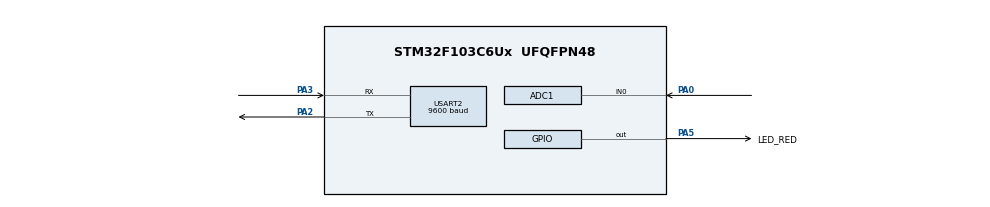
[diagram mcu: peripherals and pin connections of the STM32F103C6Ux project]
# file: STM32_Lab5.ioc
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ADC1.Channel-0\#ChannelRegularConversion=ADC_CHANNEL_0
ADC1.ContinuousConvMode=ENABLE
ADC1.NbrOfConversionFlag=1
ADC1.Rank-0\#ChannelRegularConversion=1
ADC1.SamplingTime-0\#ChannelRegularConversion=ADC_SAMPLETIME_1CYCLE_5
ADC1.master=1
Mcu.Family=STM32F1
Mcu.Name=STM32F103C6Ux
Mcu.Package=UFQFPN48
NVIC.PriorityGroup=NVIC_PRIORITYGROUP_4
NVIC.TIM2_IRQn=true\:0\:0\:false\:false\:true\:true\:true
NVIC.USART2_IRQn=true\:0\:0\:false\:false\:true\:true\:true
PA0-WKUP.Signal=ADCx_IN0
PA2.Mode=Asynchronous
PA2.Signal=USART2_TX
PA3.Mode=Asynchronous
PA3.Signal=USART2_RX
PA5.GPIO_Label=LED_RED
PA5.Signal=GPIO_Output
ProjectManager.HeapSize=0x200
ProjectManager.StackSize=0x400
ProjectManager.TargetToolchain=STM32CubeIDE
RCC.APB1Freq_Value=8000000
RCC.APB2Freq_Value=8000000
SH.ADCx_IN0.0=ADC1_IN0,IN0
TIM2.Period=9
TIM2.Prescaler=7999
USART2.BaudRate=9600
USART2.VirtualMode=VM_ASYNC
VP_SYS_VS_ND.Mode=No_Debug
VP_TIM2_VS_ClockSourceINT.Mode=Internal
board=custom

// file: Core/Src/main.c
/* USER CODE BEGIN Header */
/**
  ******************************************************************************
  * @file           : main.c
  * @brief          : Main program body
  ******************************************************************************
  * @attention
  *
  * <h2><center>&copy; Copyright (c) 2022 STMicroelectronics.
  * All rights reserved.</center></h2>
  *
  * This software component is licensed by ST under BSD 3-Clause license,
  * the "License"; You may not use this file except in compliance with the
  * License. You may obtain a copy of the License at:
  *                        opensource.org/licenses/BSD-3-Clause
  *
  ******************************************************************************
  */
/* USER CODE END Header */
#include "main.h"

/* USER CODE BEGIN Includes */
#include "global.h"
/* USER CODE END Includes */

ADC_HandleTypeDef hadc1;

TIM_HandleTypeDef htim2;

UART_HandleTypeDef huart2;

void SystemClock_Config(void);
static void MX_GPIO_Init(void);
static void MX_ADC1_Init(void);
static void MX_USART2_UART_Init(void);
static void MX_TIM2_Init(void);

/* USER CODE BEGIN 0 */
void HAL_UART_RxCpltCallback(UART_HandleTypeDef *huart) {
	if (huart->Instance == USART2) {
		HAL_UART_Transmit(&huart2, &temp, 1, 50);
		buffer[buffer_index++] = temp;
		buffer_index %= MAX_BUFFER_SIZE;
		buffer_flag = 1;
		HAL_UART_Receive_IT(&huart2, &temp, 1);
	}
}
/* USER CODE END 0 */

int main(void)
{

  /* MCU Configuration--------------------------------------------------------*/

  /* Reset of all peripherals, Initializes the Flash interface and the Systick. */
  HAL_Init();

  /* Configure the system clock */
  SystemClock_Config();

  /* Initialize all configured peripherals */
  MX_GPIO_Init();
  MX_ADC1_Init();
  MX_USART2_UART_Init();
  MX_TIM2_Init();
  /* USER CODE BEGIN 2 */
  HAL_TIM_Base_Start_IT(&htim2);
  HAL_UART_Receive_IT(&huart2, &temp, 1);
//  HAL_ADC_Start(&hadc1);
  /* USER CODE END 2 */

  /* Infinite loop */
  /* USER CODE BEGIN WHILE */
  setTimer(0, 1000);
  setTimer(1, 3000);

  while (1)
  {
	  if (isTimerUp(0)) {
		  HAL_GPIO_TogglePin(LED_RED_GPIO_Port, LED_RED_Pin);
		  setTimer(0, 1000);
	  }

	  if (buffer_flag) {
		  command_parser_fsm();
		  buffer_flag = 0;
	  }
	  uart_communication_fsm(huart2, hadc1);

    /* USER CODE END WHILE */

  }
}

void SystemClock_Config(void)
{
  RCC_OscInitTypeDef RCC_OscInitStruct = {0};
  RCC_ClkInitTypeDef RCC_ClkInitStruct = {0};
  RCC_PeriphCLKInitTypeDef PeriphClkInit = {0};

  /** Initializes the RCC Oscillators according to the specified parameters
  * in the RCC_OscInitTypeDef structure.
  */
  RCC_OscInitStruct.OscillatorType = RCC_OSCILLATORTYPE_HSI;
  RCC_OscInitStruct.HSIState = RCC_HSI_ON;
  RCC_OscInitStruct.HSICalibrationValue = RCC_HSICALIBRATION_DEFAULT;
  RCC_OscInitStruct.PLL.PLLState = RCC_PLL_NONE;
  if (HAL_RCC_OscConfig(&RCC_OscInitStruct) != HAL_OK)
  {
    Error_Handler();
  }
  /** Initializes the CPU, AHB and APB buses clocks
  */
  RCC_ClkInitStruct.ClockType = RCC_CLOCKTYPE_HCLK|RCC_CLOCKTYPE_SYSCLK
                              |RCC_CLOCKTYPE_PCLK1|RCC_CLOCKTYPE_PCLK2;
  RCC_ClkInitStruct.SYSCLKSource = RCC_SYSCLKSOURCE_HSI;
  RCC_ClkInitStruct.AHBCLKDivider = RCC_SYSCLK_DIV1;
  RCC_ClkInitStruct.APB1CLKDivider = RCC_HCLK_DIV1;
  RCC_ClkInitStruct.APB2CLKDivider = RCC_HCLK_DIV1;

  if (HAL_RCC_ClockConfig(&RCC_ClkInitStruct, FLASH_LATENCY_0) != HAL_OK)
  {
    Error_Handler();
  }
  PeriphClkInit.PeriphClockSelection = RCC_PERIPHCLK_ADC;
  PeriphClkInit.AdcClockSelection = RCC_ADCPCLK2_DIV2;
  if (HAL_RCCEx_PeriphCLKConfig(&PeriphClkInit) != HAL_OK)
  {
    Error_Handler();
  }
}

static void MX_ADC1_Init(void)
{

  ADC_ChannelConfTypeDef sConfig = {0};

  /** Common config
  */
  hadc1.Instance = ADC1;
  hadc1.Init.ScanConvMode = ADC_SCAN_DISABLE;
  hadc1.Init.ContinuousConvMode = ENABLE;
  hadc1.Init.DiscontinuousConvMode = DISABLE;
  hadc1.Init.ExternalTrigConv = ADC_SOFTWARE_START;
  hadc1.Init.DataAlign = ADC_DATAALIGN_RIGHT;
  hadc1.Init.NbrOfConversion = 1;
  if (HAL_ADC_Init(&hadc1) != HAL_OK)
  {
    Error_Handler();
  }
  /** Configure Regular Channel
  */
  sConfig.Channel = ADC_CHANNEL_0;
  sConfig.Rank = ADC_REGULAR_RANK_1;
  sConfig.SamplingTime = ADC_SAMPLETIME_1CYCLE_5;
  if (HAL_ADC_ConfigChannel(&hadc1, &sConfig) != HAL_OK)
  {
    Error_Handler();
  }

}

static void MX_TIM2_Init(void)
{

  TIM_ClockConfigTypeDef sClockSourceConfig = {0};
  TIM_MasterConfigTypeDef sMasterConfig = {0};

  htim2.Instance = TIM2;
  htim2.Init.Prescaler = 7999;
  htim2.Init.CounterMode = TIM_COUNTERMODE_UP;
  htim2.Init.Period = 9;
  htim2.Init.ClockDivision = TIM_CLOCKDIVISION_DIV1;
  htim2.Init.AutoReloadPreload = TIM_AUTORELOAD_PRELOAD_DISABLE;
  if (HAL_TIM_Base_Init(&htim2) != HAL_OK)
  {
    Error_Handler();
  }
  sClockSourceConfig.ClockSource = TIM_CLOCKSOURCE_INTERNAL;
  if (HAL_TIM_ConfigClockSource(&htim2, &sClockSourceConfig) != HAL_OK)
  {
    Error_Handler();
  }
  sMasterConfig.MasterOutputTrigger = TIM_TRGO_RESET;
  sMasterConfig.MasterSlaveMode = TIM_MASTERSLAVEMODE_DISABLE;
  if (HAL_TIMEx_MasterConfigSynchronization(&htim2, &sMasterConfig) != HAL_OK)
  {
    Error_Handler();
  }

}

static void MX_USART2_UART_Init(void)
{

  huart2.Instance = USART2;
  huart2.Init.BaudRate = 9600;
  huart2.Init.WordLength = UART_WORDLENGTH_8B;
  huart2.Init.StopBits = UART_STOPBITS_1;
  huart2.Init.Parity = UART_PARITY_NONE;
  huart2.Init.Mode = UART_MODE_TX_RX;
  huart2.Init.HwFlowCtl = UART_HWCONTROL_NONE;
  huart2.Init.OverSampling = UART_OVERSAMPLING_16;
  if (HAL_UART_Init(&huart2) != HAL_OK)
  {
    Error_Handler();
  }

}

static void MX_GPIO_Init(void)
{
  GPIO_InitTypeDef GPIO_InitStruct = {0};

  /* GPIO Ports Clock Enable */
  __HAL_RCC_GPIOA_CLK_ENABLE();

  /*Configure GPIO pin Output Level */
  HAL_GPIO_WritePin(LED_RED_GPIO_Port, LED_RED_Pin, GPIO_PIN_RESET);

  /*Configure GPIO pin : LED_RED_Pin */
  GPIO_InitStruct.Pin = LED_RED_Pin;
  GPIO_InitStruct.Mode = GPIO_MODE_OUTPUT_PP;
  GPIO_InitStruct.Pull = GPIO_NOPULL;
  GPIO_InitStruct.Speed = GPIO_SPEED_FREQ_LOW;
  HAL_GPIO_Init(LED_RED_GPIO_Port, &GPIO_InitStruct);

}

/* USER CODE BEGIN 4 */
void HAL_TIM_PeriodElapsedCallback(TIM_HandleTypeDef *htim){
	timerRun();
}
/* USER CODE END 4 */

void Error_Handler(void)
{
  __disable_irq();
  while (1)
  {
  }
}

/************************ (C) COPYRIGHT STMicroelectronics *****END OF FILE****/
